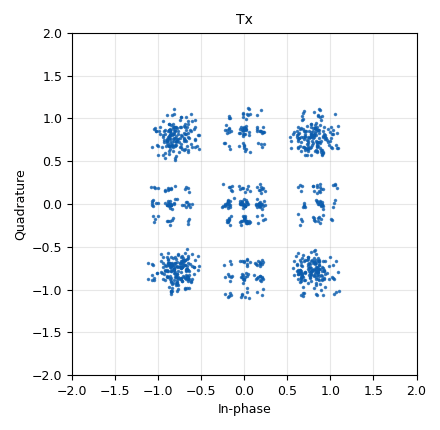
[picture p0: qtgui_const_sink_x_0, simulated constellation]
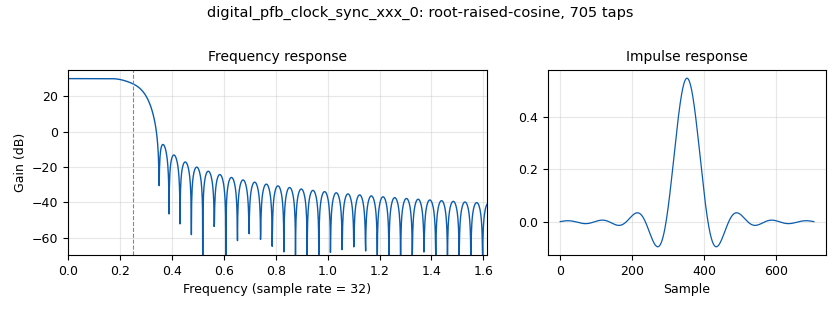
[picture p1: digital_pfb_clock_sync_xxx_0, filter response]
<?xml version='1.0' encoding='utf-8'?>
<?grc format='1' created='3.7.11'?>
<flow_graph>
<block>
<key>options</key>
<param><key>id</key><value>top_block</value></param>
<param><key>generate_options</key><value>qt_gui</value></param>
</block>
<block>
<key>variable_qtgui_range</key>
<param><key>id</key><value>bw</value></param>
<param><key>value</key><value>6.28/100.0</value></param>
<param><key>gui_hint</key><value>controls@1</value></param>
<param><key>label</key><value>timming loop bw</value></param>
<param><key>orient</key><value>Qt.Horizontal</value></param>
<param><key>start</key><value>0</value></param>
<param><key>step</key><value>0.1</value></param>
<param><key>stop</key><value>1.0</value></param>
</block>
<block>
<key>variable_qtgui_range</key>
<param><key>id</key><value>eq_gain</value></param>
<param><key>value</key><value>.01</value></param>
<param><key>gui_hint</key><value>controls@1</value></param>
<param><key>label</key><value>eq gain</value></param>
<param><key>orient</key><value>Qt.Horizontal</value></param>
<param><key>start</key><value>0</value></param>
<param><key>step</key><value>.01</value></param>
<param><key>stop</key><value>.1</value></param>
</block>
<block>
<key>variable</key>
<param><key>id</key><value>excess_bw</value></param>
<param><key>value</key><value>.350</value></param>
</block>
<block>
<key>variable_qtgui_range</key>
<param><key>id</key><value>freq</value></param>
<param><key>value</key><value>909e6</value></param>
<param><key>gui_hint</key><value>controls@0</value></param>
<param><key>label</key><value>Freq</value></param>
<param><key>orient</key><value>Qt.Horizontal</value></param>
<param><key>start</key><value>908.5e6</value></param>
<param><key>step</key><value>10</value></param>
<param><key>stop</key><value>909.5e6</value></param>
<param><key>widget</key><value>dial</value></param>
</block>
<block>
<key>variable_qtgui_range</key>
<param><key>id</key><value>freq_0</value></param>
<param><key>value</key><value>909e6</value></param>
<param><key>gui_hint</key><value>controls@1</value></param>
<param><key>label</key><value>Freq</value></param>
<param><key>orient</key><value>Qt.Horizontal</value></param>
<param><key>start</key><value>908.5e6</value></param>
<param><key>step</key><value>10</value></param>
<param><key>stop</key><value>909.5e6</value></param>
<param><key>widget</key><value>dial</value></param>
</block>
<block>
<key>variable_qtgui_range</key>
<param><key>id</key><value>gain</value></param>
<param><key>value</key><value>40</value></param>
<param><key>gui_hint</key><value>controls@0</value></param>
<param><key>label</key><value>Transmitter Gain</value></param>
<param><key>orient</key><value>Qt.Horizontal</value></param>
<param><key>start</key><value>30</value></param>
<param><key>step</key><value>20</value></param>
<param><key>stop</key><value>60</value></param>
<param><key>rangeType</key><value>int</value></param>
<param><key>widget</key><value>dial</value></param>
</block>
<block>
<key>variable_qtgui_range</key>
<param><key>id</key><value>gain_0</value></param>
<param><key>value</key><value>40</value></param>
<param><key>gui_hint</key><value>controls@1</value></param>
<param><key>label</key><value>Rx Gain</value></param>
<param><key>orient</key><value>Qt.Horizontal</value></param>
<param><key>start</key><value>30</value></param>
<param><key>step</key><value>20</value></param>
<param><key>stop</key><value>60</value></param>
<param><key>rangeType</key><value>int</value></param>
<param><key>widget</key><value>dial</value></param>
</block>
<block>
<key>variable</key>
<param><key>id</key><value>nfilts</value></param>
<param><key>value</key><value>32</value></param>
</block>
<block>
<key>variable_qtgui_range</key>
<param><key>id</key><value>phase_bw</value></param>
<param><key>value</key><value>6.28/100</value></param>
<param><key>gui_hint</key><value>controls@1</value></param>
<param><key>label</key><value>Phase Bandwidth</value></param>
<param><key>orient</key><value>Qt.Horizontal</value></param>
<param><key>start</key><value>0</value></param>
<param><key>step</key><value>0.1</value></param>
<param><key>stop</key><value>1</value></param>
</block>
<block>
<key>variable_constellation_rect</key>
<param><key>id</key><value>qpsk</value></param>
<param><key>const_points</key><value>[-1-1j, -1+1j, 1+1j, 1-1j]</value></param>
<param><key>imag_sect</key><value>2</value></param>
<param><key>real_sect</key><value>2</value></param>
<param><key>rot_sym</key><value>4</value></param>
<param><key>sym_map</key><value>[0, 1, 3, 2]</value></param>
<param><key>w_imag_sect</key><value>1</value></param>
<param><key>w_real_sect</key><value>1</value></param>
</block>
<block>
<key>variable</key>
<param><key>id</key><value>rrc_taps</value></param>
<param><key>value</key><value>firdes.root_raised_cosine(nfilts, nfilts, 1.0/float(sps), 0.35, 11*sps*nfilts)</value></param>
</block>
<block>
<key>variable</key>
<param><key>id</key><value>samp_rate</value></param>
<param><key>value</key><value>1e6</value></param>
</block>
<block>
<key>variable</key>
<param><key>id</key><value>sps</value></param>
<param><key>value</key><value>2</value></param>
</block>
<block>
<key>analog_random_source_x</key>
<param><key>id</key><value>analog_random_source_x_0</value></param>
<param><key>max</key><value>255</value></param>
<param><key>min</key><value>0</value></param>
<param><key>num_samps</key><value>1000</value></param>
<param><key>type</key><value>byte</value></param>
<param><key>repeat</key><value>True</value></param>
</block>
<block>
<key>blocks_char_to_float</key>
<param><key>id</key><value>blocks_char_to_float_0</value></param>
<param><key>scale</key><value>1</value></param>
</block>
<block>
<key>blocks_unpack_k_bits_bb</key>
<param><key>id</key><value>blocks_unpack_k_bits_bb_0</value></param>
<param><key>k</key><value>2</value></param>
</block>
<block>
<key>qtgui_tab_widget</key>
<param><key>id</key><value>controls</value></param>
<param><key>label0</key><value>Transmitter</value></param>
<param><key>label1</key><value>Reciever</value></param>
<param><key>num_tabs</key><value>2</value></param>
</block>
<block>
<key>digital_cma_equalizer_cc</key>
<param><key>id</key><value>digital_cma_equalizer_cc_0</value></param>
<param><key>mu</key><value>eq_gain</value></param>
<param><key>modulus</key><value>1</value></param>
<param><key>num_taps</key><value>15</value></param>
<param><key>sps</key><value>sps</value></param>
</block>
<block>
<key>digital_constellation_modulator</key>
<param><key>id</key><value>digital_constellation_modulator_0</value></param>
<param><key>constellation</key><value>qpsk</value></param>
<param><key>differential</key><value>True</value></param>
<param><key>excess_bw</key><value>excess_bw</value></param>
<param><key>samples_per_symbol</key><value>sps</value></param>
</block>
<block>
<key>digital_costas_loop_cc</key>
<param><key>id</key><value>digital_costas_loop_cc_0</value></param>
<param><key>w</key><value>phase_bw</value></param>
<param><key>order</key><value>sps</value></param>
</block>
<block>
<key>digital_diff_decoder_bb</key>
<param><key>id</key><value>digital_diff_decoder_bb_0</value></param>
<param><key>modulus</key><value>4</value></param>
</block>
<block>
<key>digital_map_bb</key>
<param><key>id</key><value>digital_map_bb_0</value></param>
<param><key>map</key><value>[0,1,2,3]</value></param>
</block>
<block>
<key>digital_pfb_clock_sync_xxx</key>
<param><key>id</key><value>digital_pfb_clock_sync_xxx_0</value></param>
<param><key>filter_size</key><value>nfilts</value></param>
<param><key>init_phase</key><value>nfilts/2</value></param>
<param><key>loop_bw</key><value>bw</value></param>
<param><key>max_dev</key><value>1.5</value></param>
<param><key>osps</key><value>sps</value></param>
<param><key>sps</key><value>sps</value></param>
<param><key>taps</key><value>rrc_taps</value></param>
<param><key>type</key><value>ccf</value></param>
</block>
<block>
<key>limesdr_sink</key>
<param><key>id</key><value>limesdr_sink_0</value></param>
<param><key>calibr_bandw_ch0</key><value>5e6</value></param>
<param><key>digital_bandw_ch0</key><value>0</value></param>
<param><key>gain_dB_ch0</key><value>gain</value></param>
<param><key>calibr_bandw_ch1</key><value>5e6</value></param>
<param><key>digital_bandw_ch1</key><value>0</value></param>
<param><key>gain_dB_ch1</key><value>30</value></param>
<param><key>pa_path_ch1</key><value>1</value></param>
<param><key>channel_mode</key><value>0</value></param>
<param><key>oversample</key><value>0</value></param>
<param><key>rf_freq</key><value>freq</value></param>
<param><key>samp_rate</key><value>samp_rate</value></param>
</block>
<block>
<key>limesdr_source</key>
<param><key>id</key><value>limesdr_source_0</value></param>
<param><key>analog_bandw_ch0</key><value>5e6</value></param>
<param><key>calibr_bandw_ch0</key><value>5e6</value></param>
<param><key>digital_bandw_ch0</key><value>0</value></param>
<param><key>gain_dB_ch0</key><value>gain_0</value></param>
<param><key>analog_bandw_ch1</key><value>5e6</value></param>
<param><key>calibr_bandw_ch1</key><value>5e6</value></param>
<param><key>digital_bandw_ch1</key><value>0</value></param>
<param><key>gain_dB_ch1</key><value>30</value></param>
<param><key>channel_mode</key><value>0</value></param>
<param><key>oversample</key><value>0</value></param>
<param><key>rf_freq</key><value>freq_0</value></param>
<param><key>samp_rate</key><value>samp_rate</value></param>
</block>
<block>
<key>qtgui_const_sink_x</key>
<param><key>id</key><value>qtgui_const_sink_x_0</value></param>
<param><key>name</key><value>"Tx"</value></param>
<param><key>size</key><value>1024</value></param>
<param><key>type</key><value>complex</value></param>
</block>
<block>
<key>qtgui_const_sink_x</key>
<param><key>id</key><value>qtgui_const_sink_x_1</value></param>
<param><key>name</key><value>"Rx"</value></param>
<param><key>size</key><value>1024</value></param>
<param><key>type</key><value>complex</value></param>
</block>
<block>
<key>qtgui_time_sink_x</key>
<param><key>id</key><value>qtgui_time_sink_x_0</value></param>
<param><key>color1</key><value>"blue"</value></param>
<param><key>label1</key><value></value></param>
<param><key>name</key><value>"Rx Data"</value></param>
<param><key>size</key><value>1024</value></param>
<param><key>srate</key><value>samp_rate</value></param>
<param><key>type</key><value>float</value></param>
</block>
<block>
<key>tutorial_my_qpsk_demod_cb</key>
<param><key>id</key><value>tutorial_my_qpsk_demod_cb_0</value></param>
<param><key>gray_code</key><value>True</value></param>
</block>
<connection><source_block_id>analog_random_source_x_0</source_block_id><sink_block_id>digital_constellation_modulator_0</sink_block_id><source_key>0</source_key><sink_key>0</sink_key></connection>
<connection><source_block_id>blocks_char_to_float_0</source_block_id><sink_block_id>qtgui_time_sink_x_0</sink_block_id><source_key>0</source_key><sink_key>0</sink_key></connection>
<connection><source_block_id>blocks_unpack_k_bits_bb_0</source_block_id><sink_block_id>blocks_char_to_float_0</sink_block_id><source_key>0</source_key><sink_key>0</sink_key></connection>
<connection><source_block_id>digital_cma_equalizer_cc_0</source_block_id><sink_block_id>digital_costas_loop_cc_0</sink_block_id><source_key>0</source_key><sink_key>0</sink_key></connection>
<connection><source_block_id>digital_constellation_modulator_0</source_block_id><sink_block_id>limesdr_sink_0</sink_block_id><source_key>0</source_key><sink_key>0</sink_key></connection>
<connection><source_block_id>digital_constellation_modulator_0</source_block_id><sink_block_id>qtgui_const_sink_x_0</sink_block_id><source_key>0</source_key><sink_key>0</sink_key></connection>
<connection><source_block_id>digital_costas_loop_cc_0</source_block_id><sink_block_id>qtgui_const_sink_x_1</sink_block_id><source_key>0</source_key><sink_key>0</sink_key></connection>
<connection><source_block_id>digital_costas_loop_cc_0</source_block_id><sink_block_id>tutorial_my_qpsk_demod_cb_0</sink_block_id><source_key>0</source_key><sink_key>0</sink_key></connection>
<connection><source_block_id>digital_diff_decoder_bb_0</source_block_id><sink_block_id>blocks_unpack_k_bits_bb_0</sink_block_id><source_key>0</source_key><sink_key>0</sink_key></connection>
<connection><source_block_id>digital_map_bb_0</source_block_id><sink_block_id>digital_diff_decoder_bb_0</sink_block_id><source_key>0</source_key><sink_key>0</sink_key></connection>
<connection><source_block_id>digital_pfb_clock_sync_xxx_0</source_block_id><sink_block_id>digital_cma_equalizer_cc_0</sink_block_id><source_key>0</source_key><sink_key>0</sink_key></connection>
<connection><source_block_id>limesdr_source_0</source_block_id><sink_block_id>digital_pfb_clock_sync_xxx_0</sink_block_id><source_key>0</source_key><sink_key>0</sink_key></connection>
<connection><source_block_id>tutorial_my_qpsk_demod_cb_0</source_block_id><sink_block_id>digital_map_bb_0</sink_block_id><source_key>0</source_key><sink_key>0</sink_key></connection>
</flow_graph>
